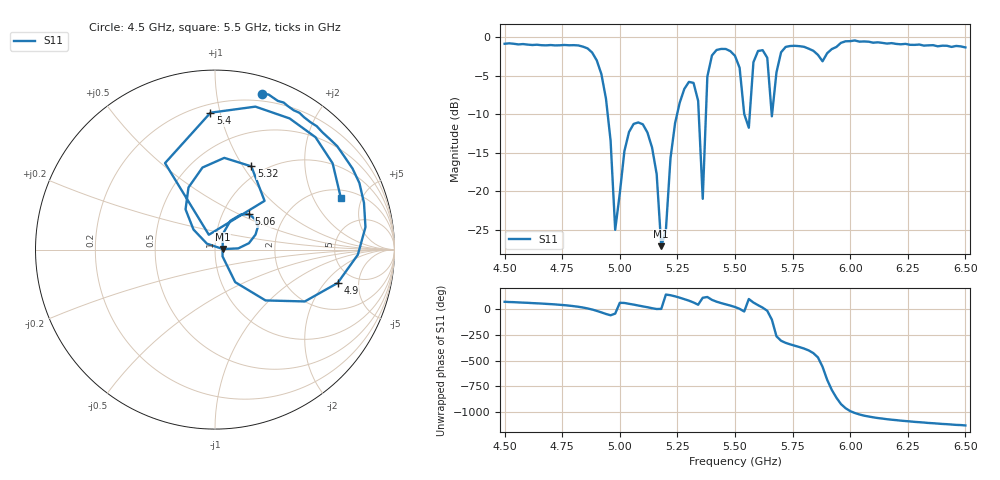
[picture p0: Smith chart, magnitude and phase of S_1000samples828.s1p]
! TOUCHSTONE file generated by CST MICROWAVE STUDIO
! Date and time: Sat Oct 29 12:57:33 2022
! Project name: L.cst
! Parameters = {Di=1.27; Epsilon_r=1.56; InnerDiameter=1.27; Length=2; Lf=10; Lg=60; OuterConductorThickness=0.2921; OuterDiameter=3.6; Wf=3; Wp=41.2; de=1.5; df=6.8; g=0.8; gx=4.62201; gy=0.969097; h=2.34; hf=1.524; px=9.78248; py=14.994; w=9.7; wx=5.16048; wy=14.0249}
! Header version: 2018
! Port assignment regex: !\s*Touchstone port\s*([0-9]+)\s*=\s*(CST MWS port|CST DS port)\s*([0-9]+|Zmin|Zmax)\s*\(\"(.*)\"\)(\s*mode\s*([0-9]+))?.*
! Touchstone port assignment:
! Touchstone port 1 = CST MWS port 1 ("")
# GHz S DB R 50
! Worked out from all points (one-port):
!   101 points, 4.5 GHz to 6.5 GHz, reference 50 ohm
!   lowest |S11| = -27.1 dB at 5.18 GHz (marker M1), VSWR 1.09, Z = 54.6 + j0.343 ohm
!   |S11| at or under -10 dB: 4.947 GHz to 5.249 GHz (301.1 MHz wide, 5.91 % of centre); 5.343 GHz to 5.374 GHz (31.05 MHz wide, 0.579 % of centre); 5.540498 GHz to 5.564083 GHz (23.59 MHz wide, 0.425 % of centre) (the widest 3 of 4)
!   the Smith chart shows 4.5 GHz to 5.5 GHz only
!   S11 on the Smith chart (normalised r, x): 4.5 GHz: 0.14, +1.34; 4.9 GHz: 3.69, -2.76; 5.06 GHz: 1.33, +0.57; 5.32 GHz: 0.87, +1.09; 5.4 GHz: 0.26, +0.93; 5.5 GHz: 2.49, +3.35
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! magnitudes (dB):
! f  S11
! 4.5 GHz  -0.8
! 4.76 GHz  -1.0
! 4.9 GHz  -3.0
! 4.96 GHz  -13.4
! 4.98 GHz  -25.0
! 5 GHz  -20.2
! 5.06 GHz  -11.2
! 5.14 GHz  -14.3
! 5.16 GHz  -17.8
! 5.18 GHz  -27.1
! 5.2 GHz  -25.0
! 5.26 GHz  -8.5
! 5.32 GHz  -5.9
! 5.34 GHz  -8.2
! 5.36 GHz  -21.0
! 5.38 GHz  -5.1
! 5.4 GHz  -2.3
! 5.5 GHz  -2.4
! 5.56 GHz  -11.7
! 5.58 GHz  -3.2
! 5.6 GHz  -1.8
! 5.64 GHz  -2.7
! 5.66 GHz  -10.3
! 5.7 GHz  -1.9
! 5.76 GHz  -1.1
! 6 GHz  -0.5
! 6.26 GHz  -1.0
! 6.5 GHz  -1.3
